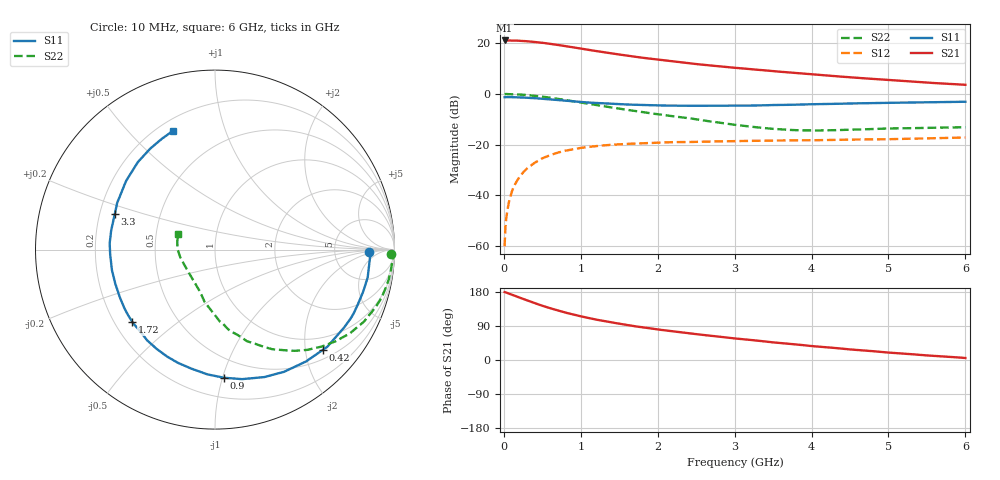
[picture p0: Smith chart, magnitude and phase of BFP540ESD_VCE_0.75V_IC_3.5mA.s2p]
! Infineon Technologies  Discrete & RF Semiconductors
! BFP540ESD
! VCE = 0.75 V,  IC =  3.5 mA
! Common Emitter S-Parameters:  Nov 2015
# GHz  S  MA  R  50
!  f  S11  S21  S12  S22
! GHz  MAG  ANG  MAG  ANG  MAG  ANG  MAG  ANG
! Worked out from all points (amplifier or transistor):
!   210 points, 10 MHz to 6 GHz, reference 50 ohm
!   highest |S21| = 21.1 dB at 10 MHz (marker M1)
!   |S21| within 3 dB of that: start of sweep to 958.2 MHz
!   unconditionally stable (mu >= 1): 3.665 GHz to end of sweep
!   at 185 MHz: K = 0.03, MSG = 27.3 dB, |S12| = -33.6 dB
!   at 1.52 GHz: K = 0.40, MSG = 17.6 dB, |S12| = -19.8 dB
!   at 6 GHz: K = 1.29, MAG = 7.2 dB, |S12| = -17.2 dB
!   S11 on the Smith chart (normalised r, x): 10 MHz: 13, -1; 420 MHz: 0.70, -2.38; 900 MHz: 0.35, -1.01; 1.72 GHz: 0.27, -0.35; 3.3 GHz: 0.26, +0.16; 6 GHz: 0.26, +0.67
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0.01  0.8603 -0.9  11.31 179.2  0.001 85.9  0.9812 -1.3
0.02  0.8652 -2.5  11.29 178.8  0.0023 86.7  0.9975 -1.3
0.035  0.8643 -3.8  11.29 177.6  0.0039 87.9  0.9938 -2.3
0.11  0.8628 -11.4  11.29 171.9  0.0126 84.5  0.9854 -7.2
0.26  0.8479 -26.8  11.01 160.5  0.0295 77.1  0.9622 -16.9
0.42  0.8207 -42.8  10.48 148.8  0.0458 68.4  0.9143 -26.9
0.5  0.8035 -50.9  10.21 143.2  0.0538 64.4  0.8858 -31.7
0.6  0.7821 -60.5  9.704 136.6  0.062 59.9  0.8445 -37.2
0.8  0.7373 -78.2  8.765 125.1  0.0761 51.4  0.7591 -47.4
0.9  0.7154 -86.1  8.283 119.8  0.081 47.7  0.7176 -51.8
1.02  0.6914 -95.0  7.733 114.4  0.0871 43.8  0.6694 -56.7
1.2  0.6639 -108.1  6.991 106.6  0.0938 38.4  0.6046 -63.5
1.36  0.6451 -117.9  6.434 100.8  0.0986 34.5  0.5532 -69.0
1.5  0.6312 -126.9  5.979 95.7  0.1014 31.5  0.5129 -73.1
1.72  0.6119 -138.9  5.379 88.6  0.1053 27.4  0.4575 -79.9
2.02  0.5933 -153.2  4.709 80.0  0.1096 23.2  0.3956 -86.8
2.6  0.5847 -176.7  3.74 65.9  0.1147 17.0  0.299 -101.0
3.1  0.5879 166.6  3.178 55.1  0.118 13.7  0.2366 -113.4
3.3  0.5926 160.4  2.987 51.0  0.1194 12.4  0.2189 -120.3
4.1  0.6291 140.0  2.373 35.2  0.1228 8.0  0.1908 -153.9
5.1  0.6708 121.3  1.838 18.2  0.1292 4.4  0.2093 177.2
6  0.7012 109.7  1.513 5.3  0.1383 2.5  0.2213 157.3
